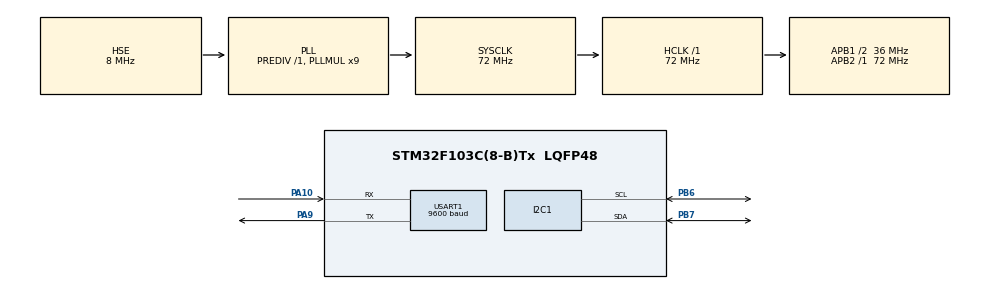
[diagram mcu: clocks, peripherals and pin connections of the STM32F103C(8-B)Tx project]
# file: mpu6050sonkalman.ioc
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I2C1.I2C_Mode=I2C_Fast
Mcu.Family=STM32F1
Mcu.Name=STM32F103C(8-B)Tx
Mcu.Package=LQFP48
NVIC.PriorityGroup=NVIC_PRIORITYGROUP_4
PA10.Mode=Asynchronous
PA10.Signal=USART1_RX
PA13.Mode=Serial_Wire
PA13.Signal=SYS_JTMS-SWDIO
PA14.Mode=Serial_Wire
PA14.Signal=SYS_JTCK-SWCLK
PA9.Mode=Asynchronous
PA9.Signal=USART1_TX
PB6.Mode=I2C
PB6.Signal=I2C1_SCL
PB7.Mode=I2C
PB7.Signal=I2C1_SDA
PD0-OSC_IN.Mode=HSE-External-Oscillator
PD0-OSC_IN.Signal=RCC_OSC_IN
PD1-OSC_OUT.Mode=HSE-External-Oscillator
PD1-OSC_OUT.Signal=RCC_OSC_OUT
ProjectManager.HeapSize=0x200
ProjectManager.StackSize=0x400
ProjectManager.TargetToolchain=MDK-ARM V5
RCC.AHBFreq_Value=72000000
RCC.APB1CLKDivider=RCC_HCLK_DIV2
RCC.APB1Freq_Value=36000000
RCC.APB1TimFreq_Value=72000000
RCC.APB2Freq_Value=72000000
RCC.APB2TimFreq_Value=72000000
RCC.HCLKFreq_Value=72000000
RCC.PLLMUL=RCC_PLL_MUL9
RCC.PLLSourceVirtual=RCC_PLLSOURCE_HSE
RCC.SYSCLKFreq_VALUE=72000000
RCC.SYSCLKSource=RCC_SYSCLKSOURCE_PLLCLK
RCC.USBFreq_Value=72000000
USART1.BaudRate=9600
USART1.VirtualMode=VM_ASYNC
board=custom

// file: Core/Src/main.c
/* USER CODE BEGIN Header */
/**
  ******************************************************************************
  * @file           : main.c
  * @brief          : Main program body
  ******************************************************************************
  * @attention
  *
  * <h2><center>&copy; Copyright (c) 2021 STMicroelectronics.
  * All rights reserved.</center></h2>
  *
  * This software component is licensed by ST under BSD 3-Clause license,
  * the "License"; You may not use this file except in compliance with the
  * License. You may obtain a copy of the License at:
  *                        opensource.org/licenses/BSD-3-Clause
  *
  ******************************************************************************
  */
/* USER CODE END Header */
#include "main.h"

/* USER CODE BEGIN Includes */
#include "stdio.h"
#include "string.h"
#include "math.h"

/* USER CODE END Includes */

/* USER CODE BEGIN PD */
	char buf[100] = " ";
/* USER CODE END PD */

I2C_HandleTypeDef hi2c1;

UART_HandleTypeDef huart1;

void SystemClock_Config(void);
static void MX_GPIO_Init(void);
static void MX_I2C1_Init(void);
static void MX_USART1_UART_Init(void);

/* USER CODE BEGIN 0 */

#define RAD_TO_DEG 57.295779513082320876798154814105
#define MPU6050_ADDR 0xD0
#define SMPLRT_DIV_REG 0x19
#define GYRO_CONFIG_REG 0x1B
#define ACCEL_CONFIG_REG 0x1C
#define ACCEL_XOUT_H_REG 0x3B
#define TEMP_OUT_H_REG 0x41
#define GYRO_XOUT_H_REG 0x43
#define PWR_MGMT_1_REG 0x6B
#define WHO_AM_I_REG 0x75

typedef struct {
    double Q_angle;
    double Q_bias;
    double R_measure;
    double angle;
    double bias;
    double P[2][2];
} Kalman_t;

uint32_t timer;
float dereceX;

Kalman_t KalmanX = {
        .Q_angle = 0.001f,
        .Q_bias = 0.003f,
        .R_measure = 0.03f
};

Kalman_t KalmanY = {
        .Q_angle = 0.001f,
        .Q_bias = 0.003f,
        .R_measure = 0.03f,
};

int16_t Accel_X_Raw = 0;
int16_t Accel_Y_Raw = 0;
int16_t Accel_Z_Raw = 0;

int16_t Gyro_X_Raw = 0;
int16_t Gyro_Y_Raw = 0;
int16_t Gyro_Z_Raw = 0;

double KalmanAngleX;
double KalmanAngleY;

float Ax,Ay,Az,Gx,Gy,Gz;

double Kalman_getAngle(Kalman_t *Kalman, double newAngle, double newRate, double dt) {
    double rate = newRate - Kalman->bias;
    Kalman->angle += dt * rate;

    Kalman->P[0][0] += dt * (dt * Kalman->P[1][1] - Kalman->P[0][1] - Kalman->P[1][0] + Kalman->Q_angle);
    Kalman->P[0][1] -= dt * Kalman->P[1][1];
    Kalman->P[1][0] -= dt * Kalman->P[1][1];
    Kalman->P[1][1] += Kalman->Q_bias * dt;

    double S = Kalman->P[0][0] + Kalman->R_measure;
    double K[2];
    K[0] = Kalman->P[0][0] / S;
    K[1] = Kalman->P[1][0] / S;

    double y = newAngle - Kalman->angle;
    Kalman->angle += K[0] * y;
    Kalman->bias += K[1] * y;

    double P00_temp = Kalman->P[0][0];
    double P01_temp = Kalman->P[0][1];

    Kalman->P[0][0] -= K[0] * P00_temp;
    Kalman->P[0][1] -= K[0] * P01_temp;
    Kalman->P[1][0] -= K[1] * P00_temp;
    Kalman->P[1][1] -= K[1] * P01_temp;

    return Kalman->angle;
};

void MPU6050_Init (void) {
	uint8_t check,Data;

	HAL_I2C_Mem_Read(&hi2c1, MPU6050_ADDR,WHO_AM_I_REG, 1, &check, 1, 1000);

	if(check == 104){
		Data = 0;
		HAL_I2C_Mem_Write(&hi2c1, MPU6050_ADDR, PWR_MGMT_1_REG, 1, &Data, 1, 1000);

		Data = 0x07;
		HAL_I2C_Mem_Write(&hi2c1, MPU6050_ADDR, SMPLRT_DIV_REG, 1, &Data, 1, 1000);

		Data = 0x00;
		HAL_I2C_Mem_Write(&hi2c1, MPU6050_ADDR, ACCEL_CONFIG_REG, 1, &Data, 1, 1000);

		Data = 0x00;
		HAL_I2C_Mem_Write(&hi2c1, MPU6050_ADDR, GYRO_CONFIG_REG, 1, &Data, 1, 1000);
	}
}
void MPU6050_Read_Accel (void){

	uint8_t Rec_Data[6];

	HAL_I2C_Mem_Read(&hi2c1, MPU6050_ADDR,ACCEL_XOUT_H_REG, 1, Rec_Data, 6, 1000);

	Accel_X_Raw = (int16_t)(Rec_Data[0] << 8 | Rec_Data[1] );
	Accel_Y_Raw = (int16_t)(Rec_Data[2] << 8 | Rec_Data[3] );
	Accel_Z_Raw = (int16_t)(Rec_Data[4] << 8 | Rec_Data[5] );

	Ax = Accel_X_Raw / 16384.0;
	Ay = Accel_Y_Raw / 16384.0;
	Az = Accel_Z_Raw / 16384.0;

}

void MPU6050_Read_Gyro (void){

	uint8_t Rec_Data[6];

	HAL_I2C_Mem_Read(&hi2c1, MPU6050_ADDR, GYRO_XOUT_H_REG, 1, Rec_Data, 6, 1000);

	Gyro_X_Raw = (int16_t)(Rec_Data[0] << 8 | Rec_Data[1] );
	Gyro_Y_Raw = (int16_t)(Rec_Data[2] << 8 | Rec_Data[3] );
	Gyro_Z_Raw = (int16_t)(Rec_Data[4] << 8 | Rec_Data[5] );

	Gx = Gyro_X_Raw / 131.0;
	Gy = Gyro_Y_Raw / 131.0;
	Gz = Gyro_Z_Raw / 131.0;
}

void MPU6050_Read_All(I2C_HandleTypeDef *I2Cx) {
    uint8_t Rec_Data[14];
    int16_t temp;

	HAL_I2C_Mem_Read(&hi2c1, MPU6050_ADDR,ACCEL_XOUT_H_REG, 1, Rec_Data, 14, 1000);

	Accel_X_Raw = (int16_t)(Rec_Data[0] << 8 | Rec_Data[1] );
	Accel_Y_Raw = (int16_t)(Rec_Data[2] << 8 | Rec_Data[3] );
	Accel_Z_Raw = (int16_t)(Rec_Data[4] << 8 | Rec_Data[5] );
  //  temp = (int16_t) (Rec_Data[6] << 8 | Rec_Data[7]);
	Gyro_X_Raw = (int16_t)(Rec_Data[0] << 8 | Rec_Data[1] );
	Gyro_Y_Raw = (int16_t)(Rec_Data[2] << 8 | Rec_Data[3] );
	Gyro_Z_Raw = (int16_t)(Rec_Data[4] << 8 | Rec_Data[5] );

	Ax = Accel_X_Raw / 16384.0;
	Ay = Accel_Y_Raw / 16384.0;
	Az = Accel_Z_Raw / 16384.0;
   // Az = Accel_Z_Raw / Accel_Z_corrector;
    //Temperature = (float) ((int16_t) temp / (float) 340.0 + (float) 36.53);
	Gx = Gyro_X_Raw / 131.0;
	Gy = Gyro_Y_Raw / 131.0;
	Gz = Gyro_Z_Raw / 131.0;

    double dt = (double) (HAL_GetTick() - timer) / 1000;
    timer = HAL_GetTick();
    double roll;
    double roll_sqrt = sqrt(
           Accel_X_Raw * Accel_X_Raw + Accel_Z_Raw * Accel_Z_Raw);
    if (roll_sqrt != 0.0) {
        roll = atan(Accel_Y_Raw / roll_sqrt) * RAD_TO_DEG;
    } else {
        roll = 0.0;
    }
    double pitch = atan2(-Accel_X_Raw, Accel_Z_Raw) * RAD_TO_DEG;
    if ((pitch < -90 && KalmanAngleY > 90) || (pitch > 90 && KalmanAngleY < -90)) {
        KalmanY.angle = pitch;
        KalmanAngleY = pitch;
    } else {
        KalmanAngleY = Kalman_getAngle(&KalmanY, pitch, Gy, dt);
    }
    if (fabs(KalmanAngleY) > 90)
        Gx = -Gx;
    KalmanAngleX = Kalman_getAngle(&KalmanX, roll, Gy, dt);

}

/* USER CODE END 0 */

int main(void)
{

  /* MCU Configuration--------------------------------------------------------*/

  /* Reset of all peripherals, Initializes the Flash interface and the Systick. */
  HAL_Init();

  /* Configure the system clock */
  SystemClock_Config();

  /* Initialize all configured peripherals */
  MX_GPIO_Init();
  MX_I2C1_Init();
  MX_USART1_UART_Init();
  /* USER CODE BEGIN 2 */
	MPU6050_Init();
  /* USER CODE END 2 */

  /* Infinite loop */
  while (1)
  {

    /* USER CODE BEGIN 3 */

		MPU6050_Read_All(&hi2c1);
		//dereceX = KalmanX.angle;
		sprintf(buf, " Ax: %.2f Ay: %.2f Az: %.2f \n Gx: %.2f Gy: %.2f Gz: %.2f  \n\r", Ax, Ay, Az, Gx, Gy, Gz);
		HAL_UART_Transmit(&huart1,(uint8_t*)buf, strlen(buf), 1000);
		HAL_Delay(500);

		/*
		MPU6050_Read_Accel();
		MPU6050_Read_Gyro();
		sprintf(buf, " Ax: %.2f Ay: %.2f Az: %.2f \n Gx: %.2f Gy: %.2f Gz: %.2f \n\r", Gx, 	Gy, Gz, Ax, Ay, Az);
		HAL_UART_Transmit(&huart1,(uint8_t*)buf, strlen(buf), 1000);
		HAL_Delay(500);
*/
  }
  /* USER CODE END 3 */
}

void SystemClock_Config(void)
{
  RCC_OscInitTypeDef RCC_OscInitStruct = {0};
  RCC_ClkInitTypeDef RCC_ClkInitStruct = {0};

  /** Initializes the RCC Oscillators according to the specified parameters
  * in the RCC_OscInitTypeDef structure.
  */
  RCC_OscInitStruct.OscillatorType = RCC_OSCILLATORTYPE_HSE;
  RCC_OscInitStruct.HSEState = RCC_HSE_ON;
  RCC_OscInitStruct.HSEPredivValue = RCC_HSE_PREDIV_DIV1;
  RCC_OscInitStruct.HSIState = RCC_HSI_ON;
  RCC_OscInitStruct.PLL.PLLState = RCC_PLL_ON;
  RCC_OscInitStruct.PLL.PLLSource = RCC_PLLSOURCE_HSE;
  RCC_OscInitStruct.PLL.PLLMUL = RCC_PLL_MUL9;
  if (HAL_RCC_OscConfig(&RCC_OscInitStruct) != HAL_OK)
  {
    Error_Handler();
  }
  /** Initializes the CPU, AHB and APB buses clocks
  */
  RCC_ClkInitStruct.ClockType = RCC_CLOCKTYPE_HCLK|RCC_CLOCKTYPE_SYSCLK
                              |RCC_CLOCKTYPE_PCLK1|RCC_CLOCKTYPE_PCLK2;
  RCC_ClkInitStruct.SYSCLKSource = RCC_SYSCLKSOURCE_PLLCLK;
  RCC_ClkInitStruct.AHBCLKDivider = RCC_SYSCLK_DIV1;
  RCC_ClkInitStruct.APB1CLKDivider = RCC_HCLK_DIV2;
  RCC_ClkInitStruct.APB2CLKDivider = RCC_HCLK_DIV1;

  if (HAL_RCC_ClockConfig(&RCC_ClkInitStruct, FLASH_LATENCY_2) != HAL_OK)
  {
    Error_Handler();
  }
}

static void MX_I2C1_Init(void)
{

  hi2c1.Instance = I2C1;
  hi2c1.Init.ClockSpeed = 100000;
  hi2c1.Init.DutyCycle = I2C_DUTYCYCLE_2;
  hi2c1.Init.OwnAddress1 = 0;
  hi2c1.Init.AddressingMode = I2C_ADDRESSINGMODE_7BIT;
  hi2c1.Init.DualAddressMode = I2C_DUALADDRESS_DISABLE;
  hi2c1.Init.OwnAddress2 = 0;
  hi2c1.Init.GeneralCallMode = I2C_GENERALCALL_DISABLE;
  hi2c1.Init.NoStretchMode = I2C_NOSTRETCH_DISABLE;
  if (HAL_I2C_Init(&hi2c1) != HAL_OK)
  {
    Error_Handler();
  }

}

static void MX_USART1_UART_Init(void)
{

  huart1.Instance = USART1;
  huart1.Init.BaudRate = 9600;
  huart1.Init.WordLength = UART_WORDLENGTH_8B;
  huart1.Init.StopBits = UART_STOPBITS_1;
  huart1.Init.Parity = UART_PARITY_NONE;
  huart1.Init.Mode = UART_MODE_TX_RX;
  huart1.Init.HwFlowCtl = UART_HWCONTROL_NONE;
  huart1.Init.OverSampling = UART_OVERSAMPLING_16;
  if (HAL_UART_Init(&huart1) != HAL_OK)
  {
    Error_Handler();
  }

}

static void MX_GPIO_Init(void)
{

  /* GPIO Ports Clock Enable */
  __HAL_RCC_GPIOD_CLK_ENABLE();
  __HAL_RCC_GPIOA_CLK_ENABLE();
  __HAL_RCC_GPIOB_CLK_ENABLE();

}

void Error_Handler(void)
{
  __disable_irq();
  while (1)
  {
  }
}

/************************ (C) COPYRIGHT STMicroelectronics *****END OF FILE****/
